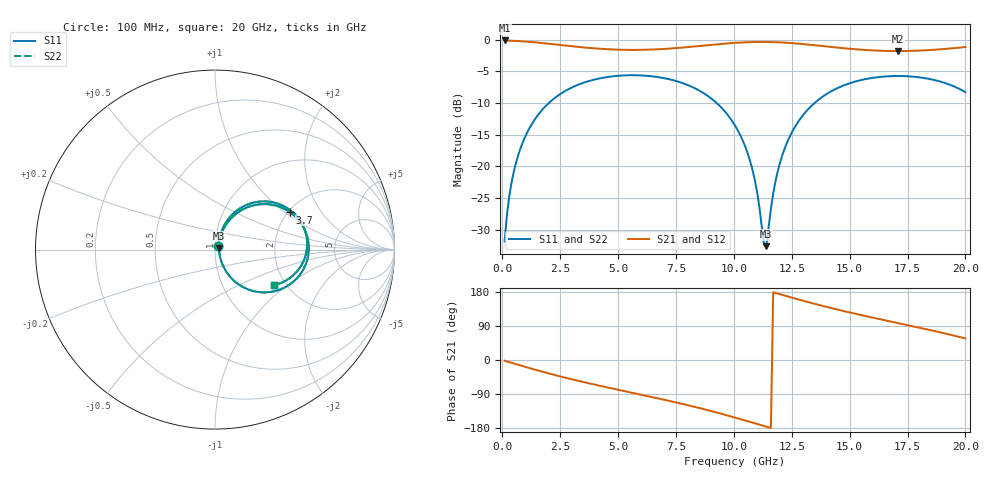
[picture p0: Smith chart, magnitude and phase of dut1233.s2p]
! Touchstone file exported from HFSS 2026.1.0
!  File:  C:/ffzhzh/LocalFiles/Ansys_Project_Files/temp_train_TSV_RDL_1233_1783322933_5512.aedt
!  Generated:  03:43:51 PM Jul  6, 2026
!  Design:  TSV_RDL
!  Project:  temp_train_TSV_RDL_1233_1783322933_5512
! Variables:
!  h_bsmrdl = 3.67um
!  h_ox = 20um
!  h_rdl = 5um
!  h_sub = 98.69um
!  h_tmrdl = 5.87um
!  h_tsv = 98.69um
!  h_via = 3um
!  l_bsmrdl = 768.61um
!  l_sub = 5056.68um
!  l_tmrdl = 554.12um
!  m_sub = 200um
!  pitch = 54.23um
!  r_tsv = 9.93um
!  s_tmrdl = 10um
!  w_bsmrdl = 25.89um
!  w_sub = 500um
!  w_tmrdl = 18.9um
!  x_tsv_center1 = 563.57um
!  x_tsv_center2 = 1358.07um
!  x_tsv_center3 = 1931.09um
!  x_tsv_center4 = 2725.59um
!  x_tsv_center5 = 3298.61um
!  x_tsv_center6 = 4093.11um
# GHz S MA R 50.000000
! Terminal data exported
! Port[1] = TM_RDL1_1_T1
! Port[2] = TM_RDL5_1_T1
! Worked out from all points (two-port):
!   200 points, 100 MHz to 20 GHz, reference 50 ohm
!   highest |S21| = -0.15 dB at 100 MHz (marker M1); lowest = -1.8 dB at 17.1 GHz (marker M2)
!   |S21| within 3 dB of the highest: start of sweep to end of sweep
!   lowest |S11| = -32.6 dB at 11.4 GHz (marker M3), VSWR 1.05, Z = 52.2 + j0.851 ohm
!   |S11| at or under -10 dB: start of sweep to 2.017 GHz; 9.25 GHz to 13.49 GHz (4.243 GHz wide, 37.3 % of centre)
!   |S22| runs from -32.8 to -5.6 dB; largest |S21 - S12| = 1.8e-14
!   S11 on the Smith chart (normalised r, x): 100 MHz: 1.04, +0.04; 3.7 GHz: 2.05, +1.09; 20 GHz: 1.75, -0.81
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0.1  0.02544 46.0  0.9828 -1.9  0.9828 -1.9  0.02544 46.0
! Gamma 0 0 0 0
! Port Impedance 50 0 50 0
0.3  0.05778 65.4  0.9798 -5.6  0.9798 -5.6  0.05778 65.4
0.5  0.09114 68.1  0.9763 -9.3  0.9763 -9.3  0.09114 68.1
1.1  0.1883 63.4  0.9608 -20.0  0.9608 -20.0  0.1883 63.4
2.1  0.3263 49.0  0.922 -36.9  0.922 -36.9  0.3263 49.0
3.5  0.4552 29.0  0.8659 -58.1  0.8659 -58.1  0.4552 29.0
3.7  0.4677 26.3  0.8594 -61.0  0.8594 -61.0  0.4677 26.3
5.3  0.5212 5.6  0.8288 -82.5  0.8288 -82.5  0.5212 5.6
6.8  0.5026 -13.4  0.8387 -102.3  0.8387 -102.3  0.5027 -13.4
8.8  0.3667 -40.5  0.899 -131.2  0.899 -131.2  0.3667 -40.6
10.1  0.2022 -58.6  0.942 -152.7  0.942 -152.7  0.2022 -58.8
10.8  0.09441 -63.3  0.9548 -165.1  0.9548 -165.1  0.09435 -63.6
11.1  0.04801 -54.6  0.9568 -170.4  0.9568 -170.4  0.04786 -55.0
11.3  0.02417 -18.6  0.9568 -174.0  0.9568 -174.0  0.02385 -19.1
11.4  0.02339 20.4  0.9565 -175.8  0.9565 -175.8  0.02304 20.6
11.7  0.06089 65.8  0.9538 178.8  0.9538 178.8  0.06075 66.1
12.1  0.1232 70.0  0.9468 171.7  0.9468 171.7  0.1232 70.1
13.4  0.3053 54.7  0.9046 149.6  0.9046 149.6  0.3052 54.7
14.9  0.4448 34.1  0.8483 126.9  0.8483 126.9  0.4448 34.0
16.7  0.5132 11.2  0.812 102.5  0.812 102.5  0.5132 11.1
17.1  0.5153 6.3  0.8107 97.3  0.8107 97.3  0.5154 6.2
20  0.3845 -30.9  0.8715 57.0  0.8715 57.0  0.3845 -31.1
